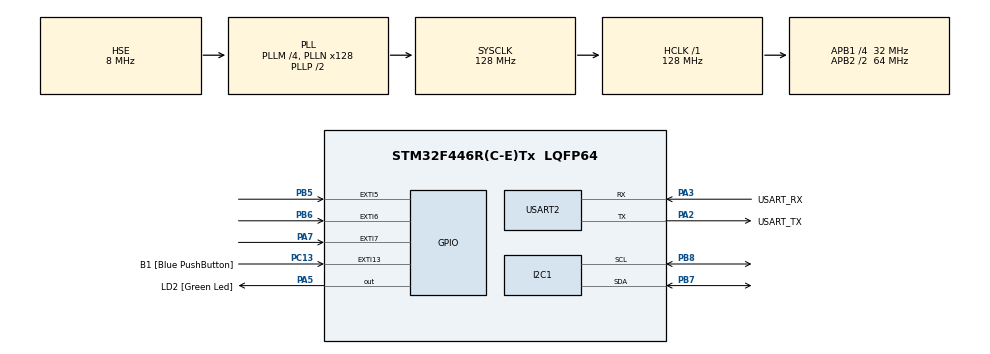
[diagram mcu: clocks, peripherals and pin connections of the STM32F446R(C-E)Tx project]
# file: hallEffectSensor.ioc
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Mcu.Family=STM32F4
Mcu.Name=STM32F446R(C-E)Tx
Mcu.Package=LQFP64
NVIC.EXTI9_5_IRQn=true\:0\:0\:false\:false\:true\:true\:true\:true
NVIC.PriorityGroup=NVIC_PRIORITYGROUP_0
NVIC.TIM2_IRQn=true\:0\:0\:false\:false\:true\:true\:true\:true
NVIC.TIM6_DAC_IRQn=true\:0\:0\:false\:false\:true\:true\:true\:true
NVIC.TIM7_IRQn=true\:0\:0\:false\:false\:true\:true\:true\:true
PA13.GPIO_Label=TMS
PA13.Mode=Serial_Wire
PA13.Signal=SYS_JTMS-SWDIO
PA14.GPIO_Label=TCK
PA14.Mode=Serial_Wire
PA14.Signal=SYS_JTCK-SWCLK
PA2.GPIO_Label=USART_TX
PA2.Mode=Asynchronous
PA2.Signal=USART2_TX
PA3.GPIO_Label=USART_RX
PA3.Mode=Asynchronous
PA3.Signal=USART2_RX
PA5.GPIO_Label=LD2 [Green Led]
PA5.Signal=GPIO_Output
PA7.GPIO_PuPd=GPIO_PULLUP
PA7.Signal=GPXTI7
PB3.GPIO_Label=SWO
PB3.Signal=SYS_JTDO-SWO
PB5.GPIO_ModeDefaultEXTI=GPIO_MODE_IT_FALLING
PB5.Signal=GPXTI5
PB6.GPIO_ModeDefaultEXTI=GPIO_MODE_IT_FALLING
PB6.GPIO_PuPd=GPIO_PULLUP
PB6.Signal=GPXTI6
PB7.Mode=I2C
PB7.Signal=I2C1_SDA
PB8.Mode=I2C
PB8.Signal=I2C1_SCL
PC13.GPIO_Label=B1 [Blue PushButton]
PC13.GPIO_ModeDefaultEXTI=GPIO_MODE_IT_FALLING
PC13.Signal=GPXTI13
PC14-OSC32_IN.Mode=LSE-External-Oscillator
PC14-OSC32_IN.Signal=RCC_OSC32_IN
PC15-OSC32_OUT.Mode=LSE-External-Oscillator
PC15-OSC32_OUT.Signal=RCC_OSC32_OUT
PH0-OSC_IN.Mode=HSE-External-Oscillator
PH0-OSC_IN.Signal=RCC_OSC_IN
PH1-OSC_OUT.Mode=HSE-External-Oscillator
PH1-OSC_OUT.Signal=RCC_OSC_OUT
ProjectManager.HeapSize=0x200
ProjectManager.StackSize=0x400
ProjectManager.TargetToolchain=STM32CubeIDE
RCC.48MHZClocksFreq_Value=84000000
RCC.AHBFreq_Value=128000000
RCC.APB1CLKDivider=RCC_HCLK_DIV4
RCC.APB1Freq_Value=32000000
RCC.APB1TimFreq_Value=64000000
RCC.APB2CLKDivider=RCC_HCLK_DIV2
RCC.APB2Freq_Value=64000000
RCC.APB2TimFreq_Value=128000000
RCC.CortexFreq_Value=128000000
RCC.FLatency-AdvancedSettings=FLASH_LATENCY_4
RCC.HCLKFreq_Value=128000000
RCC.HSE_VALUE=8000000
RCC.HSI_VALUE=16000000
RCC.PLLM=4
RCC.PLLN=128
RCC.PLLSourceVirtual=RCC_PLLSOURCE_HSE
RCC.SYSCLKFreq_VALUE=128000000
RCC.SYSCLKSource=RCC_SYSCLKSOURCE_PLLCLK
RCC.USBFreq_Value=128000000
RCC.VCOOutputFreq_Value=256000000
TIM2.AutoReloadPreload=TIM_AUTORELOAD_PRELOAD_ENABLE
TIM2.Prescaler=1280-1
TIM2.TIM_MasterOutputTrigger=TIM_TRGO_UPDATE
TIM6.AutoReloadPreload=TIM_AUTORELOAD_PRELOAD_ENABLE
TIM6.Period=6000-1
TIM6.Prescaler=64000-1
TIM6.TIM_MasterOutputTrigger=TIM_TRGO_UPDATE
TIM7.AutoReloadPreload=TIM_AUTORELOAD_PRELOAD_ENABLE
TIM7.Period=6000-1
TIM7.Prescaler=64000-1
TIM7.TIM_MasterOutputTrigger=TIM_TRGO_UPDATE
USART2.VirtualMode=VM_ASYNC
VP_TIM2_VS_ClockSourceINT.Mode=Internal
VP_TIM6_VS_ClockSourceINT.Mode=Enable_Timer
VP_TIM7_VS_ClockSourceINT.Mode=Enable_Timer
board=NUCLEO-F446RE

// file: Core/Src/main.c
/* USER CODE BEGIN Header */
/**
  ******************************************************************************
  * @file           : main.c
  * @brief          : Main program body
  ******************************************************************************
  * @attention
  *
  * Copyright (c) 2023 STMicroelectronics.
  * All rights reserved.
  *
  * This software is licensed under terms that can be found in the LICENSE file
  * in the root directory of this software component.
  * If no LICENSE file comes with this software, it is provided AS-IS.
  *
  ******************************************************************************
  */
/* USER CODE END Header */
#include "main.h"
#include "i2c.h"
#include "tim.h"
#include "usart.h"
#include "gpio.h"

/* USER CODE BEGIN Includes */
#include "hallEffectSensor.h"

/* USER CODE END Includes */

void SystemClock_Config(void);

/* USER CODE BEGIN 0 */

//Create the structures
hallEffectSensor hf1;
hallEffectSensor hf2;

//This function gets called when an external interrupt is triggered. Here enter as many ifs as
//Hall Effect Sensors connected. It notifies the code when Hall Effect Sensor is triggered.
void HAL_GPIO_EXTI_Callback(uint16_t GPIO_Pin){
	if(GPIO_Pin==hf1.interruptPin) hf1.isReady = 1;
	else if(GPIO_Pin==hf2.interruptPin) hf2.isReady = 1;
	return;
}
//This function gets called when an Timer Event is triggered. Here enter as many ifs as
//Hall Effect Sensors connected. It sets the rpm to zero if Hall Effect Sensor hasn't triggered
//in some time

void HAL_TIM_PeriodElapsedCallback(TIM_HandleTypeDef* htim){
	if(htim==hf1.timeOutTimer) hf1.rpm = 0;
	else if(htim==hf2.timeOutTimer) hf2.rpm = 0;
}
/* USER CODE END 0 */

int main(void)
{

  /* MCU Configuration--------------------------------------------------------*/

  /* Reset of all peripherals, Initializes the Flash interface and the Systick. */
  HAL_Init();

  /* Configure the system clock */
  SystemClock_Config();

  /* Initialize all configured peripherals */
  MX_GPIO_Init();
  MX_USART2_UART_Init();
  MX_TIM2_Init();
  MX_TIM6_Init();
  MX_TIM7_Init();
  MX_I2C1_Init();
  /* USER CODE BEGIN 2 */

  if(HAL_TIM_Base_Start_IT(&htim2)!= HAL_OK) Error_Handler(); //Counter starts only once
  // Initialize the HallEffectSensor Structures. Must hapoen after INITS
  if(hallEffectInit(&hf1, 0.12, htim2,htim6,1,GPIO_PIN_7)!= HAL_OK) Error_Handler();
  if(hallEffectInit(&hf2, 0.12, htim2,htim7,1,GPIO_PIN_6)!= HAL_OK) Error_Handler();

  /* USER CODE END 2 */

  /* Infinite loop */
  /* USER CODE BEGIN WHILE */
  while (1)
  {
	  //Make sure there is no user delay between each function call. It will corrupt the measurements.
	  hallEffectCalculator(&hf1);
	  hallEffectCalculator(&hf2);

    /* USER CODE END WHILE */

  }
}

void SystemClock_Config(void)
{
  RCC_OscInitTypeDef RCC_OscInitStruct = {0};
  RCC_ClkInitTypeDef RCC_ClkInitStruct = {0};

  /** Configure the main internal regulator output voltage
  */
  __HAL_RCC_PWR_CLK_ENABLE();
  __HAL_PWR_VOLTAGESCALING_CONFIG(PWR_REGULATOR_VOLTAGE_SCALE2);

  /** Initializes the RCC Oscillators according to the specified parameters
  * in the RCC_OscInitTypeDef structure.
  */
  RCC_OscInitStruct.OscillatorType = RCC_OSCILLATORTYPE_HSE;
  RCC_OscInitStruct.HSEState = RCC_HSE_ON;
  RCC_OscInitStruct.PLL.PLLState = RCC_PLL_ON;
  RCC_OscInitStruct.PLL.PLLSource = RCC_PLLSOURCE_HSE;
  RCC_OscInitStruct.PLL.PLLM = 4;
  RCC_OscInitStruct.PLL.PLLN = 128;
  RCC_OscInitStruct.PLL.PLLP = RCC_PLLP_DIV2;
  RCC_OscInitStruct.PLL.PLLQ = 2;
  RCC_OscInitStruct.PLL.PLLR = 2;
  if (HAL_RCC_OscConfig(&RCC_OscInitStruct) != HAL_OK)
  {
    Error_Handler();
  }

  /** Initializes the CPU, AHB and APB buses clocks
  */
  RCC_ClkInitStruct.ClockType = RCC_CLOCKTYPE_HCLK|RCC_CLOCKTYPE_SYSCLK
                              |RCC_CLOCKTYPE_PCLK1|RCC_CLOCKTYPE_PCLK2;
  RCC_ClkInitStruct.SYSCLKSource = RCC_SYSCLKSOURCE_PLLCLK;
  RCC_ClkInitStruct.AHBCLKDivider = RCC_SYSCLK_DIV1;
  RCC_ClkInitStruct.APB1CLKDivider = RCC_HCLK_DIV4;
  RCC_ClkInitStruct.APB2CLKDivider = RCC_HCLK_DIV2;

  if (HAL_RCC_ClockConfig(&RCC_ClkInitStruct, FLASH_LATENCY_4) != HAL_OK)
  {
    Error_Handler();
  }
}

void Error_Handler(void)
{
  __disable_irq();
  while (1)
  {
  }
}
